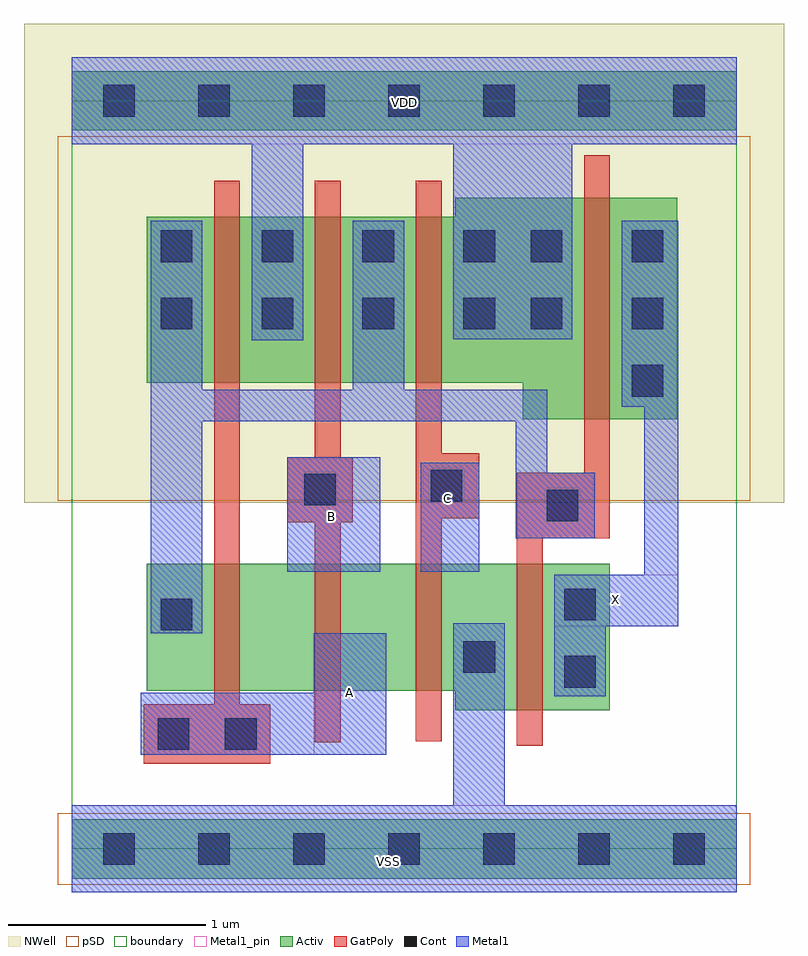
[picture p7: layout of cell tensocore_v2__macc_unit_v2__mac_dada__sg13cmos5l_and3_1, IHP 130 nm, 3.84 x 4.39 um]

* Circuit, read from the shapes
.subckt tensocore_v2__macc_unit_v2__mac_dada__sg13cmos5l_and3_1 A B C VDD VSS X
XM1 n1 A n2 VSS sg13_lv_nmos w=0.64u l=0.13u
XM2 n3 B n1 VSS sg13_lv_nmos w=0.64u l=0.13u
XM3 VSS C n3 VSS sg13_lv_nmos w=0.64u l=0.13u
XM4 X n2 VSS VSS sg13_lv_nmos w=0.74u l=0.13u
XM5 VDD A n2 VDD sg13_lv_pmos w=0.84u l=0.13u
XM6 n2 B VDD VDD sg13_lv_pmos w=0.84u l=0.13u
XM7 VDD C n2 VDD sg13_lv_pmos w=0.84u l=0.13u
XM8 X n2 VDD VDD sg13_lv_pmos w=1.12u l=0.13u
.ends

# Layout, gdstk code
import gdstk
lib = gdstk.Library(unit=1e-6, precision=1e-09)
def R(c, l, rs):  # rectangles x0, y0, x1, y1
    for r in rs: c.add(gdstk.rectangle(r[:2], r[2:], *l))
def A(c, l, x, y, w, h, nx, ny, dx, dy):  # array of equal rectangles
    R(c, l, [(x+i*dx, y+j*dy, x+i*dx+w, y+j*dy+h) for i in range(nx) for j in range(ny)])
def P(c, l, *ps):  # polygons
    for p in ps: c.add(gdstk.Polygon(p, *l))
Activ = (1, 0)
GatPoly = (5, 0)
Cont = (6, 0)
Metal1 = (8, 0)
Metal1_pin = (8, 2)
pSD = (14, 0)
NWell = (31, 0)
boundary = (189, 4)

tensocore_v2__macc_unit_ = lib.new_cell('tensocore_v2__macc_unit_v2__mac_dada__sg13cmos5l_and3_1')
R(tensocore_v2__macc_unit_, Activ, [(0,-0.15,3.36,0.15), (0,3.63,3.36,3.93)])
P(tensocore_v2__macc_unit_, Activ, [(1.94,0.7),(1.94,0.8),(0.38,0.8),(0.38,1.44),(2.72,1.44),(2.72,0.7)],
  [(2.28,2.17),(2.28,2.355),(0.38,2.355),(0.38,3.195),(1.94,3.195),(1.94,3.29),(3.06,3.29),(3.06,2.17)])
P(tensocore_v2__macc_unit_, GatPoly, [(2.25,0.52),(2.25,1.9),(2.59,1.9),(2.59,3.505),(2.72,3.505),(2.72,1.57),(2.38,1.57),(2.38,0.52)],
  [(1.74,0.545),(1.74,3.375),(1.87,3.375),(1.87,2),(2.06,2),(2.06,1.67),(1.87,1.67),(1.87,0.545)],
  [(1.23,0.54),(1.23,1.65),(1.09,1.65),(1.09,1.98),(1.23,1.98),(1.23,3.375),(1.36,3.375),(1.36,1.98),(1.42,1.98),(1.42,1.65),(1.36,1.65),(1.36,0.54)],
  [(0.365,0.43),(0.365,0.73),(0.72,0.73),(0.72,3.375),(0.85,3.375),(0.85,0.73),(1.005,0.73),(1.005,0.43)])
A(tensocore_v2__macc_unit_, Cont, 2.83, 2.285, 0.16, 0.16, 1, 3, 0, 0.34)
A(tensocore_v2__macc_unit_, Cont, 0.45, 2.625, 0.16, 0.16, 4, 2, 0.51, 0.34)
R(tensocore_v2__macc_unit_, Cont, [(0.16,-0.08,0.32,0.08), (0.16,-0.08,0.32,0.08), (0.64,-0.08,0.8,0.08), (0.64,-0.08,0.8,0.08), (1.12,-0.08,1.28,0.08), (1.12,-0.08,1.28,0.08), (1.6,-0.08,1.76,0.08), (1.6,-0.08,1.76,0.08), (2.08,-0.08,2.24,0.08), (2.08,-0.08,2.24,0.08), (2.56,-0.08,2.72,0.08), (2.56,-0.08,2.72,0.08), (3.04,-0.08,3.2,0.08), (3.04,-0.08,3.2,0.08), (0.435,0.5,0.595,0.66), (0.775,0.5,0.935,0.66), (2.49,0.815,2.65,0.975), (1.98,0.89,2.14,1.05), (0.45,1.105,0.61,1.265), (2.49,1.155,2.65,1.315), (2.4,1.655,2.56,1.815), (1.175,1.735,1.335,1.895), (1.815,1.755,1.975,1.915), (2.32,2.625,2.48,2.785), (2.32,2.965,2.48,3.125), (0.16,3.7,0.32,3.86), (0.16,3.7,0.32,3.86), (0.64,3.7,0.8,3.86), (0.64,3.7,0.8,3.86), (1.12,3.7,1.28,3.86), (1.12,3.7,1.28,3.86), (1.6,3.7,1.76,3.86), (1.6,3.7,1.76,3.86), (2.08,3.7,2.24,3.86), (2.08,3.7,2.24,3.86), (2.56,3.7,2.72,3.86), (2.56,3.7,2.72,3.86), (3.04,3.7,3.2,3.86), (3.04,3.7,3.2,3.86)])
R(tensocore_v2__macc_unit_, Metal1, [(1.09,1.4,1.56,1.98), (1.765,1.4,2.06,1.95)])
P(tensocore_v2__macc_unit_, Metal1, [(0,-0.22),(0,0.22),(1.93,0.22),(1.93,1.14),(2.19,1.14),(2.19,0.22),(3.36,0.22),(3.36,-0.22)],
  [(0.91,2.57),(0.91,3.56),(0,3.56),(0,4),(3.36,4),(3.36,3.56),(2.53,3.56),(2.53,2.575),(1.93,2.575),(1.93,3.56),(1.17,3.56),(1.17,2.57)],
  [(0.35,0.475),(0.35,0.79),(1.225,0.79),(1.225,1.09),(1.59,1.09),(1.59,0.475)],
  [(2.44,0.77),(2.44,1.385),(2.895,1.385),(2.895,2.235),(2.78,2.235),(2.78,3.175),(3.065,3.175),(3.065,1.125),(2.7,1.125),(2.7,0.77)],
  [(0.4,1.09),(0.4,3.175),(0.66,3.175),(0.66,2.32),(1.42,2.32),(1.42,3.175),(1.68,3.175),(1.68,2.32),(2.405,2.32),(2.405,1.9),(2.645,1.9),(2.645,1.57),(2.245,1.57),(2.245,2.16),(0.66,2.16),(0.66,1.09)])
R(tensocore_v2__macc_unit_, Metal1_pin, [(0,-0.22,3.36,0.22), (1.225,0.475,1.59,1.09), (2.44,1.125,3.065,1.385), (1.09,1.4,1.56,1.98), (1.765,1.4,2.06,1.95), (0,3.56,3.36,4)])
R(tensocore_v2__macc_unit_, pSD, [(-0.07,-0.18,3.43,0.18), (-0.07,1.76,3.43,3.6)])
R(tensocore_v2__macc_unit_, NWell, [(-0.24,1.75,3.6,4.17)])
R(tensocore_v2__macc_unit_, boundary, [(0,0,3.36,3.78)])
tensocore_v2__macc_unit_.add(gdstk.Label('A', (1.405,0.79), layer=8, texttype=25))
tensocore_v2__macc_unit_.add(gdstk.Label('C', (1.9,1.77), layer=8, texttype=25))
tensocore_v2__macc_unit_.add(gdstk.Label('VSS', (1.6,-0.065), layer=8, texttype=25))
tensocore_v2__macc_unit_.add(gdstk.Label('VDD', (1.68,3.77), layer=8, texttype=25))
tensocore_v2__macc_unit_.add(gdstk.Label('B', (1.315,1.68), layer=8, texttype=25))
tensocore_v2__macc_unit_.add(gdstk.Label('X', (2.75,1.26), layer=8, texttype=25))

lib.write_gds('tensocore_v2__macc_unit_v2__mac_dada__sg13cmos5l_and3_1.gds')
